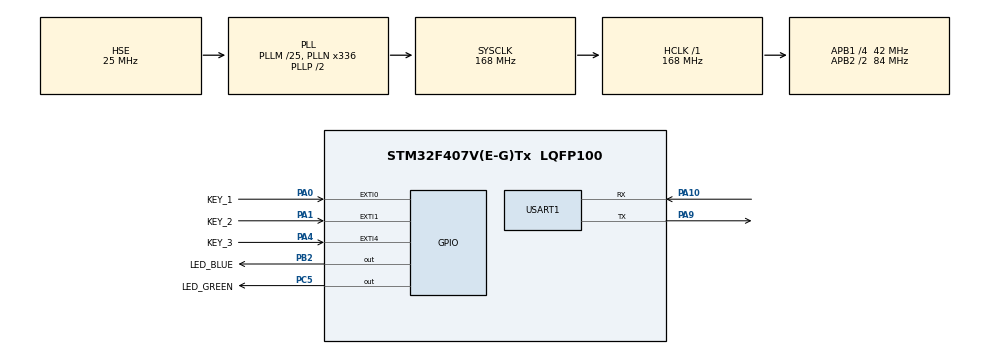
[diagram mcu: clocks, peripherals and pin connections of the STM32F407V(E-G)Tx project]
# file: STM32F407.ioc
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Mcu.Family=STM32F4
Mcu.Name=STM32F407V(E-G)Tx
Mcu.Package=LQFP100
NVIC.EXTI0_IRQn=true\:0\:0\:false\:false\:true\:true\:true\:true
NVIC.EXTI1_IRQn=true\:0\:0\:false\:false\:true\:true\:true\:true
NVIC.EXTI4_IRQn=true\:0\:0\:false\:false\:true\:true\:true\:true
NVIC.PriorityGroup=NVIC_PRIORITYGROUP_4
PA0-WKUP.GPIO_Label=KEY_1
PA0-WKUP.GPIO_ModeDefaultEXTI=GPIO_MODE_IT_RISING
PA0-WKUP.GPIO_PuPd=GPIO_PULLDOWN
PA0-WKUP.Signal=GPXTI0
PA1.GPIO_Label=KEY_2
PA1.GPIO_ModeDefaultEXTI=GPIO_MODE_IT_FALLING
PA1.GPIO_PuPd=GPIO_PULLUP
PA1.Signal=GPXTI1
PA10.Mode=Asynchronous
PA10.Signal=USART1_RX
PA13.Mode=Serial_Wire
PA13.Signal=SYS_JTMS-SWDIO
PA14.Mode=Serial_Wire
PA14.Signal=SYS_JTCK-SWCLK
PA4.GPIO_Label=KEY_3
PA4.GPIO_ModeDefaultEXTI=GPIO_MODE_IT_FALLING
PA4.GPIO_PuPd=GPIO_PULLUP
PA4.Signal=GPXTI4
PA9.Mode=Asynchronous
PA9.Signal=USART1_TX
PB2.GPIO_Label=LED_BLUE
PB2.Signal=GPIO_Output
PC5.GPIO_Label=LED_GREEN
PC5.Signal=GPIO_Output
PH0-OSC_IN.Mode=HSE-External-Oscillator
PH0-OSC_IN.Signal=RCC_OSC_IN
PH1-OSC_OUT.Mode=HSE-External-Oscillator
PH1-OSC_OUT.Signal=RCC_OSC_OUT
ProjectManager.HeapSize=0x200
ProjectManager.StackSize=0x1000
ProjectManager.TargetToolchain=MDK-ARM V5.32
RCC.48MHZClocksFreq_Value=84000000
RCC.AHBFreq_Value=168000000
RCC.APB1CLKDivider=RCC_HCLK_DIV4
RCC.APB1Freq_Value=42000000
RCC.APB1TimFreq_Value=84000000
RCC.APB2CLKDivider=RCC_HCLK_DIV2
RCC.APB2Freq_Value=84000000
RCC.APB2TimFreq_Value=168000000
RCC.CortexFreq_Value=168000000
RCC.HCLKFreq_Value=168000000
RCC.HSE_VALUE=25000000
RCC.HSI_VALUE=16000000
RCC.LSE_VALUE=32768
RCC.PLLM=25
RCC.PLLN=336
RCC.PLLSourceVirtual=RCC_PLLSOURCE_HSE
RCC.SYSCLKFreq_VALUE=168000000
RCC.SYSCLKSource=RCC_SYSCLKSOURCE_PLLCLK
RCC.VCOOutputFreq_Value=336000000
USART1.VirtualMode=VM_ASYNC
board=custom

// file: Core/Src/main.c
/* USER CODE BEGIN Header */
/**==================================================================================================================
 ** 【代码编写】  魔女开发板团队
 ** 【淘    宝】  魔女开发板       https://demoboard.taobao.com
 **==================================================================================================================
 ** 【实验名称】  2.8寸屏 基础显示测试（ILI9341，静态字模）
 **
 ** 【适用平台】  STM32F407 + Keil5 + HAL库
 **
 ** 【功能概述】  本程序驱动 ILI9341 2.8 寸显示屏，演示静态字模显示、基本图形绘制及串口数据显示功能。
 **               1. 初始化系统时钟、UART1、W25Q128 外部 Flash、ILI9341 显示屏
 **               2. 设置屏幕方向（竖屏）
 **               3. 显示静态字模汉字：“温湿度采集”（字模存于 font.h 数组）
 **               4. 绘制多条水平线作为装饰
 **               5. 主循环中：
 **                  - 绿色 LED 每 500ms 闪烁
 **                  - 串口接收数据并回显，同时将数据实时显示到屏幕底部
 **
 ** 【硬件接线】  1. LCD 显示屏（ILI9341）：
 **                  - 引脚定义见 bsp_LCD_ILI9341.h（SPI 接口 + 控制引脚）
 **               2. W25Q128 外部 Flash（可选，本示例未使用其字库，但仍需初始化）
 **               3. UART1 调试串口：PA9(TX)、PA10(RX)，波特率 115200
 **               4. LED：绿色 PC5（低电平点亮），蓝色 PB2（低电平点亮）
 **               5. 按键：KEY1(PA0)、KEY2(PA1)、KEY3(PA4) 已配置中断，用于 LED 控制及串口提示
 **
 ** 【移植说明】  1. 复制本工程的 LCD_ILI9341 和 W25Q128 文件夹到目标工程目录
 **               2. 在 Keil 中添加头文件路径：Options → C/C++ → Include Paths
 **               3. 添加源文件到工程：bsp_LCD_ILI9341.c、bsp_W25Q128.c
 **               4. 在需要使用显示功能的文件中包含 #include "bsp_LCD_ILI9341.h"
 **               5. 如需修改显示引脚，请在 bsp_LCD_ILI9341.h 中修改宏定义
 **
 ** 【函数使用】  1. LCD_Init()          // 初始化显示屏
 **               2. LCD_SetDir(0/1)     // 设置显示方向：0-竖屏，1-横屏
 **               3. LCD_ShowChinese()   // 显示静态字模汉字（需提前在 font.h 中制作字模）
 **               4. LCD_Line()          // 画线
 **               5. LCD_Fill()          // 区域填充
 **               6. LCD_String()        // 显示中英文字符串（支持外部字库，本示例未使用）
 **
 ** 【调试建议】  1. 若屏幕无显示，检查 LCD 供电（3.3V）及 SPI 引脚连接
 **               2. 若中文字符显示异常，确认 font.h 中字模数据与显示函数索引匹配
 **               3. 串口调试：通过串口助手发送任意数据，屏幕底部会显示接收内容，同时串口回显
 **               4. 绿色 LED 闪烁指示系统运行，按键可控制蓝色 LED 状态
 **
 ** 【更新记录】  2024-02-19  完善注释，增加串口数据显示功能
 **               2024-02-17  从标准库迁移至 HAL 库
 **
 ** 【备注说明】  版权归魔女科技所有，仅供学习使用，请勿用于商业用途。
 **               https://demoboard.taobao.com
 **
==================================================================================================================**/
/* USER CODE END Header */
#include "main.h"
#include "usart.h"
#include "gpio.h"

/* USER CODE BEGIN Includes */
/* 所有用户代码，必须写在配对的BEGIN与END注释行之间，否则重新生成时会被删除 */

#include "bsp_W25Q128.h"
#include "bsp_LCD_ILI9341.h"
#include "bsp_XPT2046.h"
#include "bsp_UART.h"

/* USER CODE END Includes */

void SystemClock_Config(void);

/* USER CODE BEGIN 0 */
/* 所有用户代码，必须写在配对的BEGIN与END注释行之间，否则重新生成时会被删除 */

/* USER CODE END 0 */

int main(void)
{
    /* USER CODE BEGIN 1 */

    /* 说明：
     * 1. 不要删除CubeMX生成的注释行（形如 USER CODE BEGIN/END），这些注释用于代码重新生成时的定位
     * 2. 所有用户自定义代码必须写在对应的BEGIN与END注释行之间，否则重新生成时会被覆盖
     * 3. 主要初始化函数说明：
     *    - HAL_Init()            初始化HAL库，配置中断优先级、系统时基等
     *    - SystemClock_Config()  配置系统时钟
     *    - MX_GPIO_Init()        初始化GPIO引脚（仅包含推挽输出、中断触发等配置）
     *    - 外设功能引脚（如UART、SPI等）的初始化在各自的功能文件中
     */

    /* USER CODE END 1 */

    /* MCU Configuration--------------------------------------------------------*/

    /* Reset of all peripherals, Initializes the Flash interface and the Systick. */
    HAL_Init();

    /* Configure the system clock */
    SystemClock_Config();

    /* Initialize all configured peripherals */
    MX_GPIO_Init();
    MX_USART1_UART_Init();
    /* USER CODE BEGIN 2 */
    /* 所有用户代码，必须写在配对的BEGIN与END注释行之间，否则重新生成时会被删除 */

    UART1_Init(115200);

    printf("\r\r\r=========== STM32F407 外设初始报告 ===========\r");             // 注意，printf函数，必须重定向后才能使用，否则程序会卡死; 本示例已重写fputc, 在main.c的底部附近
    printf("系统运行时钟：           %d MHz\r", SystemCoreClock / 1000000);       // 输出系统运行时钟的频率，以检查是否配置正常

    HAL_GPIO_WritePin(LED_GREEN_GPIO_Port, LED_GREEN_Pin, GPIO_PIN_SET);          // LED控制引脚置高电平，红亮灭

    LCD_Init();                                                                   // LCD ILI9341 初始化
    LCD_SetDir(0);                                                                // 设置显示方向：0-竖屏、1-横屏

    // 显示存储在font.h中的字模数据                                               // 这种方式，适合没有外部Flash字库且要显示少量汉字的方案; 前提条件：需要提示自行制作汉字字模数据，然后存储于代码数组中;
    LCD_ShowChinese(48,  8, 24, 0, WHITE, BLACK);                                 // 温, 在字模数组中的第0个字模
    LCD_ShowChinese(78,  8, 24, 1, WHITE, BLACK);                                 // 湿, 在字模数组中的第1个字模
    LCD_ShowChinese(108, 8, 24, 2, WHITE, BLACK);                                 // 度, 在字模数组中的第2个字模
    LCD_ShowChinese(138, 8, 24, 3, WHITE, BLACK);                                 // 采, 在字模数组中的第3个字模
    LCD_ShowChinese(168, 8, 24, 4, WHITE, BLACK);                                 // 集, 在字模数组中的第4个字模

    // 画线示范
    LCD_Line(0, 38, 240, 38, GRAY);                                               // 画个横线
    LCD_Line(0, 39, 240, 39, GRAY);                                               // 再画个横线，意思就是加粗一下
    LCD_Line(0, 40, 240, 40, GRAY);                                               // 再画个横线，意思就是加粗一下

    /* USER CODE END 2 */

    /* Infinite loop */
    while (1)
    {

        /* USER CODE BEGIN 3 */
        /* 所有用户代码，必须写在配对的BEGIN与END注释行之间，否则重新生成时会被删除 */

        /** 1ms延时 **/
        HAL_Delay(1 - 1);                                                  // 延时函数，参数：ms; 注意：CubeMX生成的HAL_Delay(), 函数内部为避免无效操作，会对传入参数+1，因此，如果只需要几ms延时建议传入参数时-1，如果需要大几百ms的非精准延时，那参数不-1也影响不大

        /** 检查UART1是否收到数据 (串口助手) **/
        if (UART1_GetRxNum())                                              // 判断UART1是否获取到新一帧数据：函数返回的接收字节数，大于0，即为收到新一帧数据
        {
            uint8_t *rxData = UART1_GetRxData();                           // 获取数据的地址
            uint16_t rxNum = UART1_GetRxNum();                             // 获取数据的字节数
            printf("\r<<<<< UART1 接收到一帧数据 \r");                     // 提示UART1接收到数据
            printf("字节数：%d \r", rxNum);                                // 显示字节数
            printf("ASCII : %s\r", (char *)rxData);                        // 显示数据，以ASCII方式显示，即以字符串的方式显示
            printf("16进制: ");                                            // 显示数据，以16进制方式，显示每一个字节的值
            for (uint16_t i = 0; i < rxNum; i++)                           // 逐个字节输出
                printf("0x%02X ", rxData[i]);                              // 以16进制显示
            printf("\r\r");                                                // 显示换行
            UART1_ClearRx();                                               // 重要：清0接收标志，即清0接收到的字节数; 每次处理完成数据，就要调用这个函数清0

            LCD_Fill(0, 300, 239, 319, WHITE);                             // 清理旧数据，准备显示新数据
            LCD_String(5, 303, (char *)rxData, 16, BLACK, WHITE);          // 把串口助手发过来的数据，直接显示到LCD上
            // UART1_SendString("Hello World！\r");                        // 示范 UART1_SendString( )的使用; 可接受像pritnf的格式化参数
            // UART1_SendData((uint8_t*)"Hello World!\r", 13);             // 示范 UART1_SendData( )的使用, 可用于发送字符串、数组、结构体数据等
        }

        /** 每500ms执行一次的任务 **/
        static uint32_t lastTime_500ms = 0;                                // 定义静态变量，用于记录上次执行这个任务的时间点(单位：毫秒)
        if (HAL_GetTick() - lastTime_500ms >= 500)                         // 检查当前时间距离上次执行是否已经过了500ms; HAL_GetTick()是获取启动后经过的毫秒数;
        {
            HAL_GPIO_TogglePin(GPIOC, GPIO_PIN_5);                         // 控制绿色LED引脚电平翻转(PC5); 规律地闪烁LED，方便外部观察系统是否正常运行
            lastTime_500ms =   HAL_GetTick();                              // 记录当前时间，作为新的基准点，为下一次判断做准备
        }

    }
    /* USER CODE END 3 */
}

void SystemClock_Config(void)
{
    RCC_OscInitTypeDef RCC_OscInitStruct = {0};
    RCC_ClkInitTypeDef RCC_ClkInitStruct = {0};

    /** Configure the main internal regulator output voltage
    */
    __HAL_RCC_PWR_CLK_ENABLE();
    __HAL_PWR_VOLTAGESCALING_CONFIG(PWR_REGULATOR_VOLTAGE_SCALE1);

    /** Initializes the RCC Oscillators according to the specified parameters
    * in the RCC_OscInitTypeDef structure.
    */
    RCC_OscInitStruct.OscillatorType = RCC_OSCILLATORTYPE_HSE;
    RCC_OscInitStruct.HSEState = RCC_HSE_ON;
    RCC_OscInitStruct.PLL.PLLState = RCC_PLL_ON;
    RCC_OscInitStruct.PLL.PLLSource = RCC_PLLSOURCE_HSE;
    RCC_OscInitStruct.PLL.PLLM = 25;
    RCC_OscInitStruct.PLL.PLLN = 336;
    RCC_OscInitStruct.PLL.PLLP = RCC_PLLP_DIV2;
    RCC_OscInitStruct.PLL.PLLQ = 4;
    if (HAL_RCC_OscConfig(&RCC_OscInitStruct) != HAL_OK)
    {
        Error_Handler();
    }

    /** Initializes the CPU, AHB and APB buses clocks
    */
    RCC_ClkInitStruct.ClockType = RCC_CLOCKTYPE_HCLK | RCC_CLOCKTYPE_SYSCLK
                                  | RCC_CLOCKTYPE_PCLK1 | RCC_CLOCKTYPE_PCLK2;
    RCC_ClkInitStruct.SYSCLKSource = RCC_SYSCLKSOURCE_PLLCLK;
    RCC_ClkInitStruct.AHBCLKDivider = RCC_SYSCLK_DIV1;
    RCC_ClkInitStruct.APB1CLKDivider = RCC_HCLK_DIV4;
    RCC_ClkInitStruct.APB2CLKDivider = RCC_HCLK_DIV2;

    if (HAL_RCC_ClockConfig(&RCC_ClkInitStruct, FLASH_LATENCY_5) != HAL_OK)
    {
        Error_Handler();
    }
}

/* USER CODE BEGIN 4 */
/* 所有用户代码，必须写在配对的BEGIN与END注释行之间，否则重新生成时会被删除 */

/******************************************************************************
 * 函  数： HAL_GPIO_EXTI_Callback
 * 功  能： EXTI中断回调函数
 * 参  数： uint16_t  GPIO_Pin    引脚编号，参数范围：GPIO_Pin_0 ~ GPIO_Pin_15
 * 返回值： 无
 * 备  注： CubeMX生成的代码在思维和风格上，与使用标准库编写时有很大的区别：
 *          1：这个是回调函数，不是中断服务函数。完整的调用：EXTIx_IRQHandler() > HAL_GPIO_EXTI_IRQHandler(GPIO_PIN_x) > HAL_GPIO_EXTI_Callback(GPIO_PIN_x)
 *          2：必须使用这个函数名称，因为它在CubeMX生成时，已被写好了各种函数调用、函数弱定义(在stm32xx_hal_gpio.c的底部); 不建议在原弱定义中增添代码，而是重写本函数
 *          3：中断条件触发后，本函数被自动调用，无需进行人工调用; 也无需进行中断标志的清理，因为HAL_GPIO_EXTI_IRQHandler()函数中已有操作;
 *          4：生成的所有EXTI中断服务函数，都统一调用这个函数，以引脚编号作参数
 *          5：判断参数传进来的引脚编号，即可知道是哪个外部中断线产生的中断信号
******************************************************************************/
void HAL_GPIO_EXTI_Callback(uint16_t GPIO_Pin)
{
    if (GPIO_Pin == KEY_1_Pin)                                  // 按键1 产生的中断信号：KEY_1、PA0、闲时下拉、按下时高电平、上升沿触发
    {
        HAL_GPIO_TogglePin(GPIOB, GPIO_PIN_2);                  // 反转蓝色LED灯
        printf("KEY_1 按下\r");                                 // 通过串口助手输出提示
        //XPT2046_ReCalibration();                              // 触摸屏重新校准
    }

    if (GPIO_Pin == KEY_2_Pin)                                  // 按键2 产生的中断信号：KEY_2、PA1、闲时上拉、按下时低电平、下降沿触发
    {
        HAL_GPIO_TogglePin(GPIOB, GPIO_PIN_2);                  // 反转蓝色LED灯
        printf("KEY_2 按下\r");                                 // 通过串口助手输出提示
    }

    if (GPIO_Pin == KEY_3_Pin)                                  // 按键3 产生的中断信号：KEY_3、PA4、闲时上拉、按下低高电平、下降沿触发
    {
        HAL_GPIO_TogglePin(GPIOB, GPIO_PIN_2);                  // 反转蓝色LED灯
        printf("KEY_3 按下\r");                                 // 通过串口助手输出提示
    }
}

/* 所有用户代码，必须写在配对的BEGIN与END注释行之间，否则重新生成时会被删除 */
/* USER CODE END 4 */

void Error_Handler(void)
{
    __disable_irq();
    while (1)
    {
    }
}
